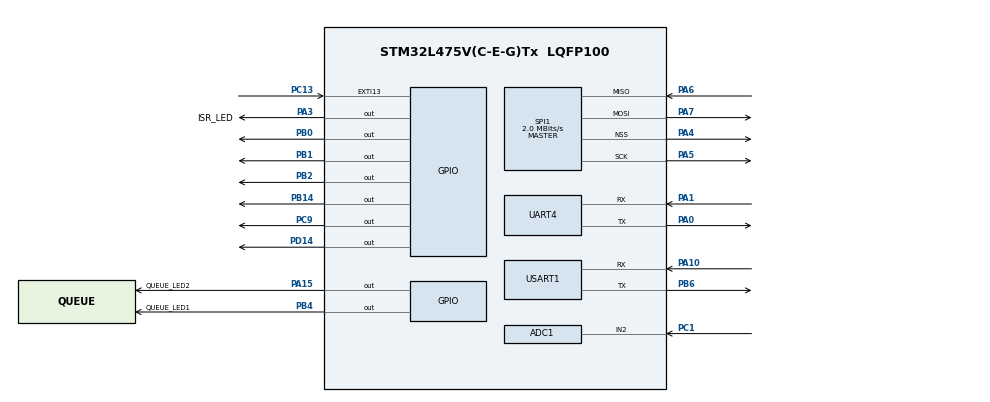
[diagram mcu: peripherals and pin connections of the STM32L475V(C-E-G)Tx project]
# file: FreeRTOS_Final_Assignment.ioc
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ADC1.Channel-0\#ChannelRegularConversion=ADC_CHANNEL_2
ADC1.ClockPrescaler=ADC_CLOCK_ASYNC_DIV8
ADC1.NbrOfConversionFlag=1
ADC1.OffsetNumber-0\#ChannelRegularConversion=ADC_OFFSET_NONE
ADC1.Rank-0\#ChannelRegularConversion=1
ADC1.SamplingTime-0\#ChannelRegularConversion=ADC_SAMPLETIME_2CYCLES_5
ADC1.master=1
FREERTOS.BinarySemaphores01=isrSemaphore,Dynamic,NULL
FREERTOS.INCLUDE_xEventGroupSetBitFromISR=1
FREERTOS.INCLUDE_xTimerPendFunctionCall=1
FREERTOS.Mutexes01=lcdMutex,Dynamic,NULL
FREERTOS.Tasks01=LCD_Task,1,128,StartDefaultTask,Default,NULL,Dynamic,NULL,NULL;LED_TASK_1,0,128,ledTask1,Default,NULL,Dynamic,NULL,NULL;LCD_Task_2,1,128,StartTask04,Default,NULL,Dynamic,NULL,NULL;PING_TASK,-1,128,StartTask04,Default,NULL,Dynamic,NULL,NULL;PING_TASK_2,-1,128,StartTask05,Default,NULL,Dynamic,NULL,NULL
FREERTOS.Timers01=oneShotTimer,Callback01,osTimerOnce,Default,NULL,Dynamic,NULL;periodicTimer,Callback02,osTimerPeriodic,Default,NULL,Dynamic,NULL
FREERTOS.configTOTAL_HEAP_SIZE=7000
FREERTOS.configUSE_TIMERS=1
Mcu.Family=STM32L4
Mcu.Name=STM32L475V(C-E-G)Tx
Mcu.Package=LQFP100
NVIC.EXTI15_10_IRQn=true\:5\:0\:false\:false\:true\:true\:true\:true
NVIC.PriorityGroup=NVIC_PRIORITYGROUP_4
NVIC.TIM1_UP_TIM16_IRQn=true\:0\:0\:false\:false\:true\:false\:false\:true
NVIC.TimeBase=TIM1_UP_TIM16_IRQn
NVIC.TimeBaseIP=TIM1
PA0.Mode=Asynchronous
PA0.Signal=UART4_TX
PA1.Mode=Asynchronous
PA1.Signal=UART4_RX
PA10.Mode=Asynchronous
PA10.Signal=USART1_RX
PA15\ (JTDI).GPIO_Label=QUEUE_LED2
PA15\ (JTDI).Signal=GPIO_Output
PA3.GPIO_Label=ISR_LED
PA3.Signal=GPIO_Output
PA4.Mode=NSS_Signal_Hard_Output
PA4.Signal=SPI1_NSS
PA5.Mode=Full_Duplex_Master
PA5.Signal=SPI1_SCK
PA6.Mode=Full_Duplex_Master
PA6.Signal=SPI1_MISO
PA7.Mode=Full_Duplex_Master
PA7.Signal=SPI1_MOSI
PB0.Signal=GPIO_Output
PB1.Signal=GPIO_Output
PB14.Signal=GPIO_Output
PB2.Signal=GPIO_Output
PB4\ (NJTRST).GPIO_Label=QUEUE_LED1
PB4\ (NJTRST).Signal=GPIO_Output
PB6.Mode=Asynchronous
PB6.Signal=USART1_TX
PC1.Signal=ADCx_IN2
PC13.Signal=GPXTI13
PC9.Signal=GPIO_Output
PD14.Signal=GPIO_Output
ProjectManager.HeapSize=0x200
ProjectManager.StackSize=0x400
ProjectManager.TargetToolchain=STM32CubeIDE
RCC.HSE_VALUE=8000000
RCC.HSI_VALUE=16000000
RCC.LSE_VALUE=32768
RCC.MSI_VALUE=4000000
RCC.VCOOutputFreq_Value=32000000
SH.ADCx_IN2.0=ADC1_IN2,IN2-Single-Ended
SPI1.CalculateBaudRate=2.0 MBits/s
SPI1.Direction=SPI_DIRECTION_2LINES
SPI1.Mode=SPI_MODE_MASTER
SPI1.VirtualNSS=VM_NSSHARD
SPI1.VirtualType=VM_MASTER
USART1.VirtualMode-Asynchronous=VM_ASYNC
VP_FREERTOS_VS_CMSIS_V1.Mode=CMSIS_V1
VP_SYS_VS_tim1.Mode=TIM1
board=custom

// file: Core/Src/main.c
/* USER CODE BEGIN Header */
/**
  ******************************************************************************
  * @file           : main.c
  * @brief          : Main program body
  ******************************************************************************
  * @attention
  *
  * <h2><center>&copy; Copyright (c) 2021 STMicroelectronics.
  * All rights reserved.</center></h2>
  *
  * This software component is licensed by ST under Ultimate Liberty license
  * SLA0044, the "License"; You may not use this file except in compliance with
  * the License. You may obtain a copy of the License at:
  *                             www.st.com/SLA0044
  *
  ******************************************************************************
  */
/* USER CODE END Header */
#include "main.h"
#include "cmsis_os.h"
#include "nokia_5110.h"

/* USER CODE BEGIN Includes */
#define FIRST_BIT 0x01
#define SECOND_BIT 0x02
/* USER CODE END Includes */

/* USER CODE BEGIN PTD */
typedef enum
{
   PING = 0,
   PONG = 1,
}cmd_type;
/* USER CODE END PTD */

ADC_HandleTypeDef hadc1;

SPI_HandleTypeDef hspi1;

UART_HandleTypeDef huart4;
UART_HandleTypeDef huart1;

osThreadId LCD_TaskHandle;
osThreadId LED_TASK_1Handle;
osThreadId LCD_Task_2Handle;
osThreadId PING_TASKHandle;
osThreadId PING_TASK_2Handle;
osTimerId oneShotTimerHandle;
osTimerId periodicTimerHandle;
osMutexId lcdMutexHandle;
SemaphoreHandle_t isrSemaphoreHandle;
/* USER CODE BEGIN PV */
QueueHandle_t pingQueue;
int lcd_count;
osThreadId EVT_GROUP_1Handle;
osThreadId EVT_GROUP_2Handle;
osThreadId EVT_GROUP_3Handle;
/* USER CODE END PV */
EventGroupHandle_t evtGroup;
void SystemClock_Config(void);
static void MX_GPIO_Init(void);
static void MX_SPI1_Init(void);
static void MX_UART4_Init(void);
static void MX_USART1_UART_Init(void);
static void MX_ADC1_Init(void);
void LCDTask1(void const * argument);
void LCDTask2(void const * argument);
void ledTask1(void const * argument);
void StartTask04(void const * argument);
void StartTask05(void const * argument);
void Callback01(void const * argument);
void Callback02(void const * argument);
void evtGroupSetter1(void const * argument);
void evtGroupSetter2(void const * argument);
void evtGroupWaiter(void const * argument);

int main(void)
{

  /* MCU Configuration--------------------------------------------------------*/

  /* Reset of all peripherals, Initializes the Flash interface and the Systick. */
  HAL_Init();

  /* Configure the system clock */
  SystemClock_Config();

  /* Initialize all configured peripherals */
  MX_GPIO_Init();
  MX_SPI1_Init();
  MX_UART4_Init();
  MX_USART1_UART_Init();
  MX_ADC1_Init();
  /* USER CODE BEGIN 2 */
  Nokia_Reset();
  Nokia_Config(hspi1.Instance);
  Clear_Display(hspi1.Instance);
  Nokia5110_SetCursor(hspi1.Instance, 0, 0);
  Nokia5110_OutString(hspi1.Instance, "Hello");
  evtGroup = xEventGroupCreate();
  /* USER CODE END 2 */

  /* Create the mutex(es) */
  /* definition and creation of lcdMutex */
  osMutexDef(lcdMutex);
  lcdMutexHandle = osMutexCreate(osMutex(lcdMutex));

  /* Create the semaphores(s) */
  /* definition and creation of isrSemaphore */
  osSemaphoreDef(isrSemaphore);
  isrSemaphoreHandle = osSemaphoreCreate(osSemaphore(isrSemaphore), 1);

  /* Create the timer(s) */
  /* definition and creation of oneShotTimer */
  osTimerDef(oneShotTimer, Callback01);
  oneShotTimerHandle = osTimerCreate(osTimer(oneShotTimer), osTimerOnce, NULL);

  /* definition and creation of periodicTimer */
  osTimerDef(periodicTimer, Callback02);
  periodicTimerHandle = osTimerCreate(osTimer(periodicTimer), osTimerPeriodic, NULL);
  osTimerStart(periodicTimerHandle, 1000);

  /* USER CODE BEGIN RTOS_QUEUES */
  /* add queues, ... */
  pingQueue = xQueueCreate(3, sizeof(cmd_type));
  /* USER CODE END RTOS_QUEUES */

  /* Create the thread(s) */
  /* definition and creation of LCD_Task */
  osThreadDef(LCD_Task, LCDTask1, osPriorityAboveNormal, 0, 128);
  LCD_TaskHandle = osThreadCreate(osThread(LCD_Task), NULL);

  /* definition and creation of LED_TASK_1 */
  osThreadDef(LED_TASK_1, ledTask1, osPriorityNormal, 0, 128);
  LED_TASK_1Handle = osThreadCreate(osThread(LED_TASK_1), NULL);

  /* definition and creation of LCD_Task_2 */
  osThreadDef(LCD_Task_2, LCDTask2, osPriorityAboveNormal, 0, 128);
  LCD_Task_2Handle = osThreadCreate(osThread(LCD_Task_2), NULL);

  /* definition and creation of PING_TASK */
  osThreadDef(PING_TASK, StartTask04, osPriorityNormal, 0, 128);
  PING_TASKHandle = osThreadCreate(osThread(PING_TASK), NULL);

  /* definition and creation of PING_TASK_2 */
  osThreadDef(PING_TASK_2, StartTask05, osPriorityAboveNormal, 0, 128);
  PING_TASK_2Handle = osThreadCreate(osThread(PING_TASK_2), NULL);

  /* USER CODE BEGIN RTOS_THREADS */
  /* add threads, ... */
  osThreadDef(EVT_GROUP_TASK_1, evtGroupSetter1, osPriorityBelowNormal, 0, 128);
  EVT_GROUP_1Handle = osThreadCreate(osThread(EVT_GROUP_TASK_1), NULL);

  osThreadDef(EVT_GROUP_TASK_2, evtGroupSetter2, osPriorityBelowNormal, 0, 128);
  EVT_GROUP_2Handle = osThreadCreate(osThread(EVT_GROUP_TASK_2), NULL);

  osThreadDef(EVT_GROUP_TASK_3, evtGroupWaiter, osPriorityBelowNormal, 0, 128);
  EVT_GROUP_3Handle = osThreadCreate(osThread(EVT_GROUP_TASK_3), NULL);

  /* USER CODE END RTOS_THREADS */

  /* Start scheduler */
  osKernelStart();

  /* We should never get here as control is now taken by the scheduler */
  /* Infinite loop */
  while (1)
  {

  }
}

void SystemClock_Config(void)
{
  RCC_OscInitTypeDef RCC_OscInitStruct = {0};
  RCC_ClkInitTypeDef RCC_ClkInitStruct = {0};

  /** Configure the main internal regulator output voltage
  */
  if (HAL_PWREx_ControlVoltageScaling(PWR_REGULATOR_VOLTAGE_SCALE1) != HAL_OK)
  {
    Error_Handler();
  }
  /** Initializes the RCC Oscillators according to the specified parameters
  * in the RCC_OscInitTypeDef structure.
  */
  RCC_OscInitStruct.OscillatorType = RCC_OSCILLATORTYPE_MSI;
  RCC_OscInitStruct.MSIState = RCC_MSI_ON;
  RCC_OscInitStruct.MSICalibrationValue = 0;
  RCC_OscInitStruct.MSIClockRange = RCC_MSIRANGE_6;
  RCC_OscInitStruct.PLL.PLLState = RCC_PLL_NONE;
  if (HAL_RCC_OscConfig(&RCC_OscInitStruct) != HAL_OK)
  {
    Error_Handler();
  }
  /** Initializes the CPU, AHB and APB buses clocks
  */
  RCC_ClkInitStruct.ClockType = RCC_CLOCKTYPE_HCLK|RCC_CLOCKTYPE_SYSCLK
                              |RCC_CLOCKTYPE_PCLK1|RCC_CLOCKTYPE_PCLK2;
  RCC_ClkInitStruct.SYSCLKSource = RCC_SYSCLKSOURCE_MSI;
  RCC_ClkInitStruct.AHBCLKDivider = RCC_SYSCLK_DIV1;
  RCC_ClkInitStruct.APB1CLKDivider = RCC_HCLK_DIV1;
  RCC_ClkInitStruct.APB2CLKDivider = RCC_HCLK_DIV1;

  if (HAL_RCC_ClockConfig(&RCC_ClkInitStruct, FLASH_LATENCY_0) != HAL_OK)
  {
    Error_Handler();
  }
}

static void MX_ADC1_Init(void)
{

  ADC_MultiModeTypeDef multimode = {0};
  ADC_ChannelConfTypeDef sConfig = {0};

  /** Common config
  */
  hadc1.Instance = ADC1;
  hadc1.Init.ClockPrescaler = ADC_CLOCK_ASYNC_DIV8;
  hadc1.Init.Resolution = ADC_RESOLUTION_12B;
  hadc1.Init.DataAlign = ADC_DATAALIGN_RIGHT;
  hadc1.Init.ScanConvMode = ADC_SCAN_DISABLE;
  hadc1.Init.EOCSelection = ADC_EOC_SINGLE_CONV;
  hadc1.Init.LowPowerAutoWait = DISABLE;
  hadc1.Init.ContinuousConvMode = DISABLE;
  hadc1.Init.NbrOfConversion = 1;
  hadc1.Init.DiscontinuousConvMode = DISABLE;
  hadc1.Init.ExternalTrigConv = ADC_SOFTWARE_START;
  hadc1.Init.ExternalTrigConvEdge = ADC_EXTERNALTRIGCONVEDGE_NONE;
  hadc1.Init.DMAContinuousRequests = DISABLE;
  hadc1.Init.Overrun = ADC_OVR_DATA_PRESERVED;
  hadc1.Init.OversamplingMode = DISABLE;
  if (HAL_ADC_Init(&hadc1) != HAL_OK)
  {
    Error_Handler();
  }
  /** Configure the ADC multi-mode
  */
  multimode.Mode = ADC_MODE_INDEPENDENT;
  if (HAL_ADCEx_MultiModeConfigChannel(&hadc1, &multimode) != HAL_OK)
  {
    Error_Handler();
  }
  /** Configure Regular Channel
  */
  sConfig.Channel = ADC_CHANNEL_2;
  sConfig.Rank = ADC_REGULAR_RANK_1;
  sConfig.SamplingTime = ADC_SAMPLETIME_2CYCLES_5;
  sConfig.SingleDiff = ADC_SINGLE_ENDED;
  sConfig.OffsetNumber = ADC_OFFSET_NONE;
  sConfig.Offset = 0;
  if (HAL_ADC_ConfigChannel(&hadc1, &sConfig) != HAL_OK)
  {
    Error_Handler();
  }

}

static void MX_SPI1_Init(void)
{

  /* SPI1 parameter configuration*/
  hspi1.Instance = SPI1;
  hspi1.Init.Mode = SPI_MODE_MASTER;
  hspi1.Init.Direction = SPI_DIRECTION_2LINES;
  hspi1.Init.DataSize = SPI_DATASIZE_8BIT;
  hspi1.Init.CLKPolarity = SPI_POLARITY_LOW;
  hspi1.Init.CLKPhase = SPI_PHASE_1EDGE;
  hspi1.Init.NSS = SPI_NSS_HARD_OUTPUT;
  hspi1.Init.BaudRatePrescaler = SPI_BAUDRATEPRESCALER_2;
  hspi1.Init.FirstBit = SPI_FIRSTBIT_MSB;
  hspi1.Init.TIMode = SPI_TIMODE_DISABLE;
  hspi1.Init.CRCCalculation = SPI_CRCCALCULATION_DISABLE;
  hspi1.Init.CRCPolynomial = 7;
  hspi1.Init.CRCLength = SPI_CRC_LENGTH_DATASIZE;
  hspi1.Init.NSSPMode = SPI_NSS_PULSE_ENABLE;
  if (HAL_SPI_Init(&hspi1) != HAL_OK)
  {
    Error_Handler();
  }
  /* USER CODE BEGIN SPI1_Init 2 */
  __HAL_SPI_ENABLE(&hspi1);
  /* USER CODE END SPI1_Init 2 */

}

static void MX_UART4_Init(void)
{

  huart4.Instance = UART4;
  huart4.Init.BaudRate = 115200;
  huart4.Init.WordLength = UART_WORDLENGTH_8B;
  huart4.Init.StopBits = UART_STOPBITS_1;
  huart4.Init.Parity = UART_PARITY_NONE;
  huart4.Init.Mode = UART_MODE_TX_RX;
  huart4.Init.HwFlowCtl = UART_HWCONTROL_NONE;
  huart4.Init.OverSampling = UART_OVERSAMPLING_16;
  huart4.Init.OneBitSampling = UART_ONE_BIT_SAMPLE_DISABLE;
  huart4.AdvancedInit.AdvFeatureInit = UART_ADVFEATURE_NO_INIT;
  if (HAL_UART_Init(&huart4) != HAL_OK)
  {
    Error_Handler();
  }
  /* USER CODE BEGIN UART4_Init 2 */
  __HAL_UART_ENABLE(&huart4);
  /* USER CODE END UART4_Init 2 */

}

static void MX_USART1_UART_Init(void)
{

  huart1.Instance = USART1;
  huart1.Init.BaudRate = 115200;
  huart1.Init.WordLength = UART_WORDLENGTH_8B;
  huart1.Init.StopBits = UART_STOPBITS_1;
  huart1.Init.Parity = UART_PARITY_NONE;
  huart1.Init.Mode = UART_MODE_TX_RX;
  huart1.Init.HwFlowCtl = UART_HWCONTROL_NONE;
  huart1.Init.OverSampling = UART_OVERSAMPLING_16;
  huart1.Init.OneBitSampling = UART_ONE_BIT_SAMPLE_DISABLE;
  huart1.AdvancedInit.AdvFeatureInit = UART_ADVFEATURE_NO_INIT;
  if (HAL_UART_Init(&huart1) != HAL_OK)
  {
    Error_Handler();
  }

}

static void MX_GPIO_Init(void)
{
  GPIO_InitTypeDef GPIO_InitStruct = {0};

  /* GPIO Ports Clock Enable */
  __HAL_RCC_GPIOC_CLK_ENABLE();
  __HAL_RCC_GPIOA_CLK_ENABLE();
  __HAL_RCC_GPIOB_CLK_ENABLE();
  __HAL_RCC_GPIOD_CLK_ENABLE();

  /*Configure GPIO pin Output Level */
  HAL_GPIO_WritePin(GPIOA, ISR_LED_Pin|QUEUE_LED2_Pin, GPIO_PIN_RESET);
  HAL_GPIO_WritePin(GPIOA, QUEUE_LED2_Pin, GPIO_PIN_SET);

  /*Configure GPIO pin Output Level */
  HAL_GPIO_WritePin(GPIOB, GPIO_PIN_0|GPIO_PIN_1|GPIO_PIN_2|GPIO_PIN_14
                          |QUEUE_LED1_Pin, GPIO_PIN_RESET);

  /*Configure GPIO pin Output Level */
  HAL_GPIO_WritePin(GPIOD, GPIO_PIN_14, GPIO_PIN_RESET);

  /*Configure GPIO pin Output Level */
  HAL_GPIO_WritePin(GPIOC, GPIO_PIN_9, GPIO_PIN_RESET);

  /*Configure GPIO pin : PC13 */
  GPIO_InitStruct.Pin = GPIO_PIN_13;
  GPIO_InitStruct.Mode = GPIO_MODE_IT_RISING;
  GPIO_InitStruct.Pull = GPIO_NOPULL;
  HAL_GPIO_Init(GPIOC, &GPIO_InitStruct);

  /*Configure GPIO pins : ISR_LED_Pin QUEUE_LED2_Pin */
  GPIO_InitStruct.Pin = ISR_LED_Pin|QUEUE_LED2_Pin;
  GPIO_InitStruct.Mode = GPIO_MODE_OUTPUT_PP;
  GPIO_InitStruct.Pull = GPIO_NOPULL;
  GPIO_InitStruct.Speed = GPIO_SPEED_FREQ_LOW;
  HAL_GPIO_Init(GPIOA, &GPIO_InitStruct);

  /*Configure GPIO pins : PB0 PB1 PB2 PB14
                           QUEUE_LED1_Pin */
  GPIO_InitStruct.Pin = GPIO_PIN_0|GPIO_PIN_1|GPIO_PIN_2|GPIO_PIN_14
                          |QUEUE_LED1_Pin;
  GPIO_InitStruct.Mode = GPIO_MODE_OUTPUT_PP;
  GPIO_InitStruct.Pull = GPIO_NOPULL;
  GPIO_InitStruct.Speed = GPIO_SPEED_FREQ_LOW;
  HAL_GPIO_Init(GPIOB, &GPIO_InitStruct);

  /*Configure GPIO pin : PD14 */
  GPIO_InitStruct.Pin = GPIO_PIN_14;
  GPIO_InitStruct.Mode = GPIO_MODE_OUTPUT_PP;
  GPIO_InitStruct.Pull = GPIO_NOPULL;
  GPIO_InitStruct.Speed = GPIO_SPEED_FREQ_LOW;
  HAL_GPIO_Init(GPIOD, &GPIO_InitStruct);

  /*Configure GPIO pin : PC9 */
  GPIO_InitStruct.Pin = GPIO_PIN_9;
  GPIO_InitStruct.Mode = GPIO_MODE_OUTPUT_PP;
  GPIO_InitStruct.Pull = GPIO_NOPULL;
  GPIO_InitStruct.Speed = GPIO_SPEED_FREQ_LOW;
  HAL_GPIO_Init(GPIOC, &GPIO_InitStruct);

  /* EXTI interrupt init*/
  HAL_NVIC_SetPriority(EXTI15_10_IRQn, 5, 0);
  HAL_NVIC_EnableIRQ(EXTI15_10_IRQn);

}

/* USER CODE BEGIN 4 */
void evtGroupSetter1(void const * argument)
{
  char buf[50];
  for(;;)
  {
    snprintf(buf, sizeof(buf), "Event Task Setting Bit 0: \r\n");
	HAL_UART_Transmit(&huart4, (uint8_t  *)buf, strlen(buf), 1000);
	xEventGroupSetBits(evtGroup, 0x01);
	osDelay(1000);
  }
}
void evtGroupSetter2(void const * argument)
{
  char buf[50];
  for(;;)
  {
    snprintf(buf, sizeof(buf), "Event Task Setting Bit 1: \r\n");
	HAL_UART_Transmit(&huart4, (uint8_t  *)buf, strlen(buf), 1000);
	xEventGroupSetBits(evtGroup, 0x02);
	osDelay(2000);
  }
}
void evtGroupWaiter(void const * argument)
{
  char buf[50];
  for(;;)
  {
    xEventGroupWaitBits(evtGroup,
      0x03,
      pdTRUE,
      pdTRUE,
	  portMAX_DELAY );
    snprintf(buf, sizeof(buf), "Event Waiting Task Unblocked \r\n");
	HAL_UART_Transmit(&huart4, (uint8_t  *)buf, strlen(buf), 1000);
  }
}
/* USER CODE END 4 */

/* USER CODE BEGIN Header_StartDefaultTask */
/**
  * @brief  Function implementing the defaultTask thread.
  * @param  argument: Not used
  * @retval None
  */

void LCDTask2(void const * argument)
{
  for(;;)
  {
	osDelay(1000);
    xSemaphoreTake(lcdMutexHandle, portMAX_DELAY);
    Nokia5110_SetCursor(hspi1.Instance, 0, lcd_count);
    Nokia5110_OutString(hspi1.Instance, "Task 2:Hi ");
	++lcd_count;
	if(lcd_count == 7)
	{
	  Clear_Display(hspi1.Instance);
      lcd_count = 0;
	}
	xSemaphoreGive(lcdMutexHandle);
  }
}

/* USER CODE END Header_StartDefaultTask */
void LCDTask1(void const * argument)
{
  /* USER CODE BEGIN 5 */
  /* Infinite loop */
  for(;;)
  {
    xSemaphoreTake(lcdMutexHandle, portMAX_DELAY);
    Nokia5110_SetCursor(hspi1.Instance, 0, lcd_count);
    Nokia5110_OutString(hspi1.Instance, "Task 1:Hello");
    ++lcd_count;
    if(lcd_count == 7)
    {
      Clear_Display(hspi1.Instance);
   	  lcd_count = 0;
    }
    xSemaphoreGive(lcdMutexHandle);
	osDelay(1000);
  }
  /* USER CODE END 5 */
}

void ledTask1(void const * argument)
{
  /* USER CODE BEGIN ledTask1 */
  /* Infinite loop */
  for(;;)
  {
    HAL_GPIO_TogglePin(GPIOB, GPIO_PIN_14|GPIO_PIN_1);
    osDelay(500);
  }
  /* USER CODE END ledTask1 */
}

void StartTask04(void const * argument)
{
  /* USER CODE BEGIN StartTask04 */
  /* Infinite loop */
  cmd_type cmdToQueue = PING;
  cmd_type recvCmd;
  for(;;)
  {
    /* Should not delay becasue queue will never be full */
	xQueueSend(pingQueue, &cmdToQueue, 0);
	xQueueReceive(pingQueue, &recvCmd, portMAX_DELAY);
	if(recvCmd == PONG)
	{
      HAL_GPIO_TogglePin(GPIOA, QUEUE_LED2_Pin);
      osDelay(500);
	}
  }
  /* USER CODE END StartTask04 */
}

void StartTask05(void const * argument)
{
  /* USER CODE BEGIN StartTask05 */
  cmd_type cmdToQueue = PONG;
  cmd_type recvCmd;
  /* Infinite loop */
  for(;;)
  {
	xQueueReceive(pingQueue, &recvCmd, portMAX_DELAY);
	if(recvCmd == PING)
	{
	  HAL_GPIO_TogglePin(GPIOB, QUEUE_LED1_Pin);
	  xQueueSend(pingQueue, &cmdToQueue, 0);
	  osDelay(500);
	}
	else
	{
	  xQueueSend(pingQueue, &cmdToQueue, 0);
      osDelay(500);
	}
  }
  /* USER CODE END StartTask05 */
}

/* Callback01 function */
void Callback01(void const * argument)
{
  /* USER CODE BEGIN Callback01 */
  HAL_GPIO_WritePin(GPIOA, ISR_LED_Pin, GPIO_PIN_RESET);
  /* USER CODE END Callback01 */
}

/* Callback02 function */
void Callback02(void const * argument)
{
  /* USER CODE BEGIN Callback02 */
  HAL_GPIO_TogglePin(GPIOC, GPIO_PIN_9);
  HAL_GPIO_TogglePin(GPIOD, GPIO_PIN_14);
  /* USER CODE END Callback02 */
}

void HAL_TIM_PeriodElapsedCallback(TIM_HandleTypeDef *htim)
{
  if (htim->Instance == TIM1) {
    HAL_IncTick();
  }
}

void Error_Handler(void)
{
  __disable_irq();
  while (1)
  {
  }
}

/************************ (C) COPYRIGHT STMicroelectronics *****END OF FILE****/
